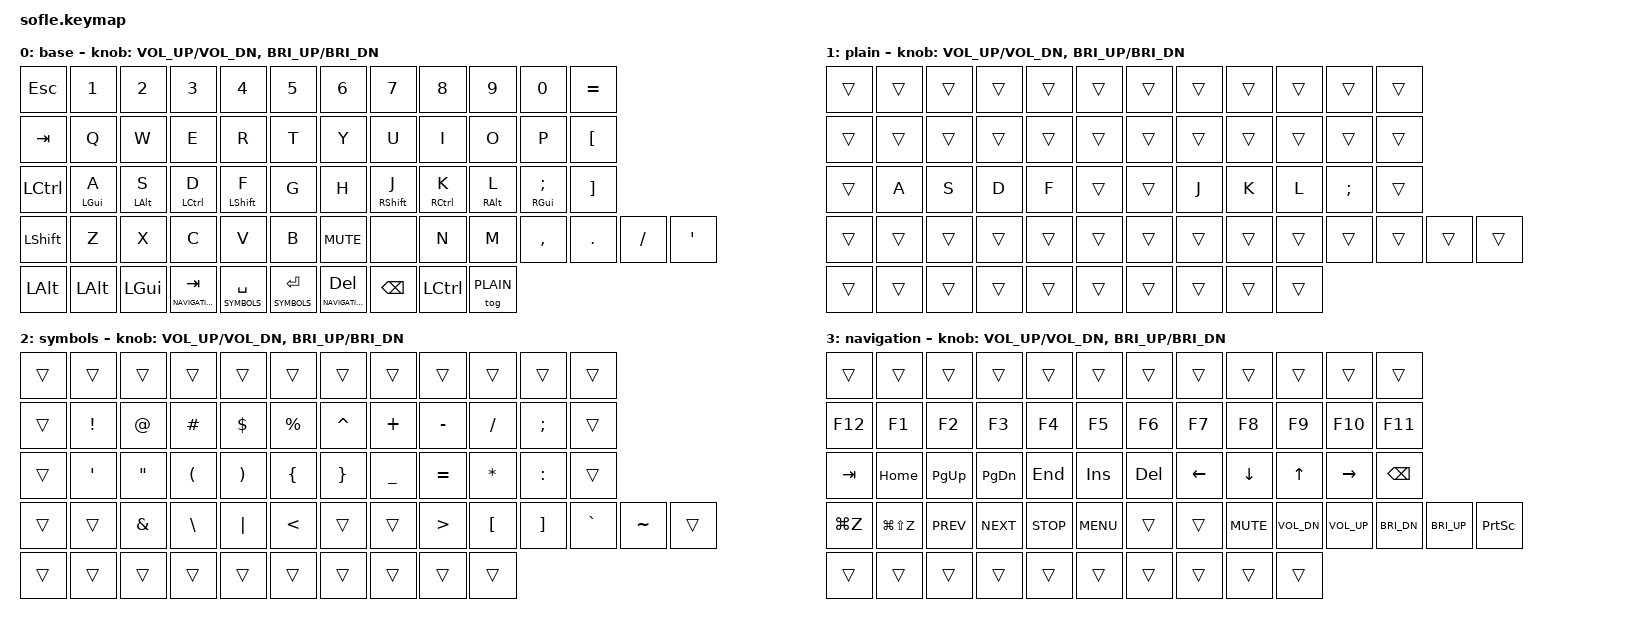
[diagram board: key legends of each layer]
/* Sofle 58 layout.md + existing Sofle hardware (60 positions).
 * Layer 0 Base with cross-hand-safe home-row mods; layer 1 Plain.
 * Layers 2/3 Symbols and Navigation have precedence over Plain.
 * Two center key positions are maintained from the previous firmware.
 */
#include <behaviors.dtsi>
#include <dt-bindings/zmk/keys.h>

#define BASE 0
#define PLAIN 1
#define SYMBOLS 2
#define NAVIGATION 3

/ {
    behaviors {
        hml: home_row_mod_left {
            compatible = "zmk,behavior-hold-tap";
            #binding-cells = <2>;
            flavor = "tap-preferred";
            tapping-term-ms = <230>;
            quick-tap-ms = <175>;
            require-prior-idle-ms = <170>;
            bindings = <&kp>, <&kp>;
        };
        hmr: home_row_mod_right {
            compatible = "zmk,behavior-hold-tap";
            #binding-cells = <2>;
            flavor = "tap-preferred";
            tapping-term-ms = <230>;
            quick-tap-ms = <175>;
            require-prior-idle-ms = <170>;
            bindings = <&kp>, <&kp>;
        };
    };
    keymap {
        compatible = "zmk,keymap";
        base_layer {
            display-name = "base";
            bindings = <
                &kp ESC &kp N1 &kp N2 &kp N3 &kp N4 &kp N5 &kp N6 &kp N7 &kp N8 &kp N9 &kp N0 &kp EQUAL
                &kp TAB &kp Q &kp W &kp E &kp R &kp T &kp Y &kp U &kp I &kp O &kp P &kp LBKT
                &kp LCTRL &hml LGUI A &hml LALT S &hml LCTRL D &hml LSHFT F &kp G &kp H &hmr RSHFT J &hmr RCTRL K &hmr RALT L &hmr RGUI SEMI &kp RBKT
                &kp LSHFT &kp Z &kp X &kp C &kp V &kp B &kp C_MUTE &none &kp N &kp M &kp COMMA &kp DOT &kp FSLH &kp SQT
                &kp LALT &kp LALT &kp LGUI &lt NAVIGATION TAB &lt SYMBOLS SPACE &lt SYMBOLS RET &lt NAVIGATION DEL &kp BSPC &kp LCTRL &tog PLAIN
            >;
            sensor-bindings = <&inc_dec_kp C_VOL_UP C_VOL_DN &inc_dec_kp C_BRI_UP C_BRI_DN>;
        };

        plain_layer {
            display-name = "plain";
            bindings = <
                &trans &trans &trans &trans &trans &trans &trans &trans &trans &trans &trans &trans
                &trans &trans &trans &trans &trans &trans &trans &trans &trans &trans &trans &trans
                &trans &kp A &kp S &kp D &kp F &trans &trans &kp J &kp K &kp L &kp SEMI &trans
                &trans &trans &trans &trans &trans &trans &trans &trans &trans &trans &trans &trans &trans &trans
                &trans &trans &trans &trans &trans &trans &trans &trans &trans &trans
            >;
            sensor-bindings = <&inc_dec_kp C_VOL_UP C_VOL_DN &inc_dec_kp C_BRI_UP C_BRI_DN>;
        };

        symbols_layer {
            display-name = "symbols";
            bindings = <
                &trans &trans &trans &trans &trans &trans &trans &trans &trans &trans &trans &trans
                &trans &kp EXCL &kp AT &kp HASH &kp DLLR &kp PRCNT &kp CARET &kp PLUS &kp MINUS &kp FSLH &kp SEMI &trans
                &trans &kp SQT &kp DQT &kp LPAR &kp RPAR &kp LBRC &kp RBRC &kp UNDER &kp EQUAL &kp STAR &kp COLON &trans
                &trans &trans &kp AMPS &kp BSLH &kp PIPE &kp LT &trans &trans &kp GT &kp LBKT &kp RBKT &kp GRAVE &kp TILDE &trans
                &trans &trans &trans &trans &trans &trans &trans &trans &trans &trans
            >;
            sensor-bindings = <&inc_dec_kp C_VOL_UP C_VOL_DN &inc_dec_kp C_BRI_UP C_BRI_DN>;
        };

        navigation_layer {
            display-name = "navigation";
            bindings = <
                &trans &trans &trans &trans &trans &trans &trans &trans &trans &trans &trans &trans
                &kp F12 &kp F1 &kp F2 &kp F3 &kp F4 &kp F5 &kp F6 &kp F7 &kp F8 &kp F9 &kp F10 &kp F11
                &kp TAB &kp HOME &kp PG_UP &kp PG_DN &kp END &kp INS &kp DEL &kp LEFT &kp DOWN &kp UP &kp RIGHT &kp BSPC
                &kp LG(Z) &kp LG(LS(Z)) &kp C_PREV &kp C_NEXT &kp C_STOP &kp K_MENU &trans &trans &kp C_MUTE &kp C_VOL_DN &kp C_VOL_UP &kp C_BRI_DN &kp C_BRI_UP &kp PSCRN
                &trans &trans &trans &trans &trans &trans &trans &trans &trans &trans
            >;
            sensor-bindings = <&inc_dec_kp C_VOL_UP C_VOL_DN &inc_dec_kp C_BRI_UP C_BRI_DN>;
        };

    };
};
